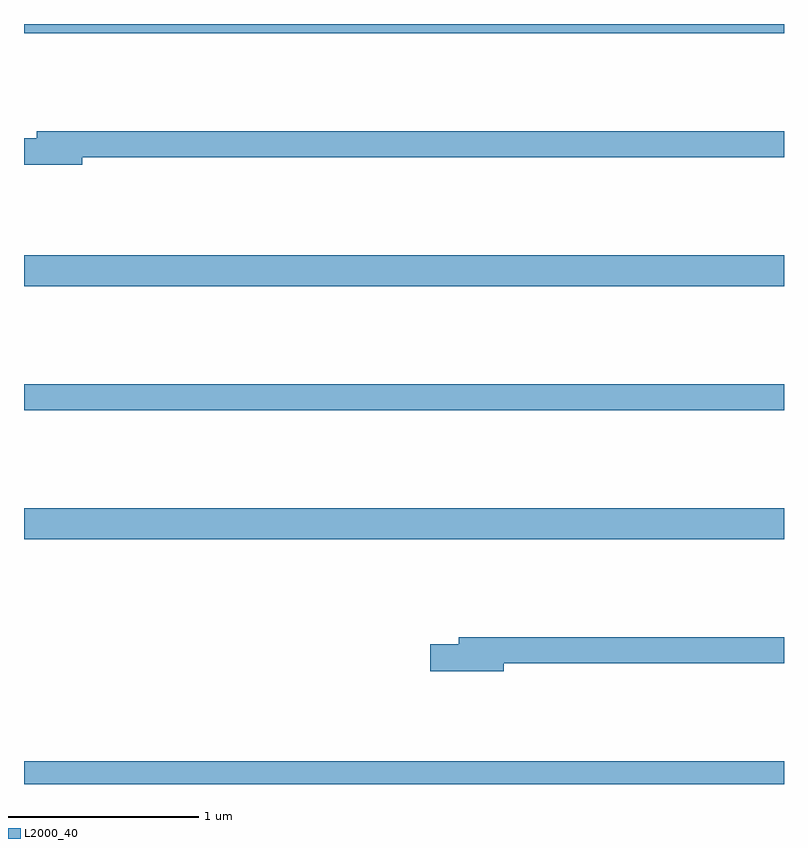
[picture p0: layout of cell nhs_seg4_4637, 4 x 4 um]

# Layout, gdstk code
import gdstk
lib = gdstk.Library(unit=1e-6, precision=1e-09)
def R(c, l, rs):  # rectangles x0, y0, x1, y1
    for r in rs: c.add(gdstk.rectangle(r[:2], r[2:], *l))
def P(c, l, *ps):  # polygons
    for p in ps: c.add(gdstk.Polygon(p, *l))
L2000_40 = (2000, 40)

nhs_seg4_4637 = lib.new_cell('nhs_seg4_4637')
R(nhs_seg4_4637, L2000_40, [(361,760.9,365,761.02), (361,762.188,365,762.352), (361,762.868,365,763.004), (361,763.52,365,763.684), (361,764.852,365,764.9)])
P(nhs_seg4_4637, L2000_40, [(361.306,764.2),(365,764.2),(365,764.336),(361.067,764.336),(361.067,764.3),(361,764.3),(361,764.158),(361.306,764.158)],
  [(363.526,761.536),(365,761.536),(365,761.672),(363.287,761.672),(363.287,761.636),(363.138,761.636),(363.138,761.494),(363.526,761.494)])

lib.write_gds('nhs_seg4_4637.gds')
